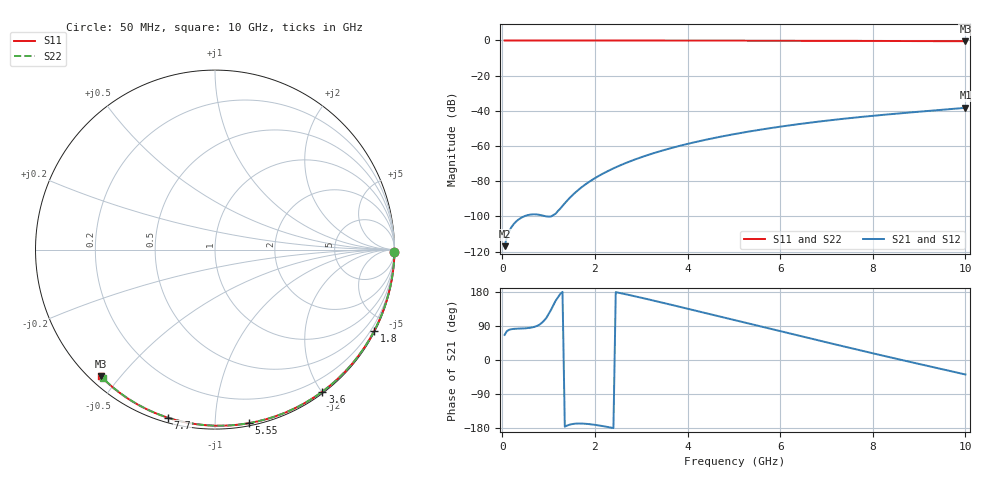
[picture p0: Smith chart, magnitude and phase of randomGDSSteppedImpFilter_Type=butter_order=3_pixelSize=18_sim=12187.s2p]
! freq	dB(S11)	phase(S11)	dB(S12)	phase(S12)
!  dB(S21)	phase(S21)	dB(S22)	phase(S22)
!S-par simulation data
#  GHz  S  DB  R 50
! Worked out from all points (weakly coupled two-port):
!   200 points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, 50 MHz to 10 GHz, reference 50 ohm
!   highest |S21| = -38.29 dB at 10 GHz (marker M1); lowest = -116.9 dB at 50 MHz (marker M2)
!   lowest |S11| = -0.4 dB at 10 GHz (marker M3), VSWR 39.16, Z = 1.53 - j22.2 ohm
!   |S11| at or under -10 dB: nowhere
!   |S22| runs from -0.4 to 0.0 dB; largest |S21 - S12| = 0
!   S11 on the Smith chart (normalised r, x): 50 MHz: open; 1.8 GHz: 0.04, -4.15; 3.6 GHz: 0.02, -2.01; 5.55 GHz: 0.02, -1.21; 7.7 GHz: 0.02, -0.76; 10 GHz: 0.03, -0.44
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0.05  -0.00 -0.8  -116.92 66.2  -116.92 66.2  -0.00 -0.8
0.45  -0.01 -6.9  -100.21 83.3  -100.21 83.3  -0.01 -6.8
0.9  -0.02 -13.7  -99.72 103.7  -99.72 103.7  -0.02 -13.6
1.75  -0.03 -26.3  -82.69 -167.9  -82.69 -167.9  -0.03 -26.2
1.8  -0.03 -27.1  -81.72 -168.3  -81.72 -168.3  -0.03 -26.9
1.9  -0.04 -28.5  -79.93 -169.5  -79.93 -169.5  -0.04 -28.4
2.05  -0.04 -30.7  -77.49 -172.0  -77.49 -172.0  -0.04 -30.5
2.25  -0.04 -33.7  -74.62 -176.2  -74.62 -176.2  -0.04 -33.5
2.45  -0.05 -36.6  -72.09 179.1  -72.09 179.1  -0.05 -36.3
2.65  -0.05 -39.5  -69.83 173.9  -69.83 173.9  -0.05 -39.2
3  -0.06 -44.5  -66.38 164.4  -66.38 164.4  -0.06 -44.2
3.4  -0.07 -50.1  -63.00 153.0  -63.00 153.0  -0.07 -49.8
3.6  -0.07 -52.9  -61.50 147.1  -61.50 147.1  -0.07 -52.6
4.3  -0.09 -62.5  -56.97 126.5  -56.97 126.5  -0.09 -62.2
5.05  -0.11 -72.6  -53.04 104.3  -53.04 104.3  -0.11 -72.1
5.55  -0.13 -79.1  -50.80 89.5  -50.80 89.5  -0.13 -78.6
6.1  -0.15 -86.0  -48.63 73.2  -48.63 73.2  -0.15 -85.5
6.7  -0.18 -93.5  -46.54 55.5  -46.54 55.5  -0.18 -92.9
7.7  -0.24 -105.6  -43.60 26.3  -43.60 26.3  -0.24 -104.9
8.35  -0.29 -113.2  -41.97 7.7  -41.97 7.7  -0.29 -112.5
9.15  -0.36 -122.4  -40.16 -14.6  -40.16 -14.6  -0.36 -121.7
10  -0.44 -132.1  -38.29 -38.2  -38.29 -38.2  -0.44 -131.3
